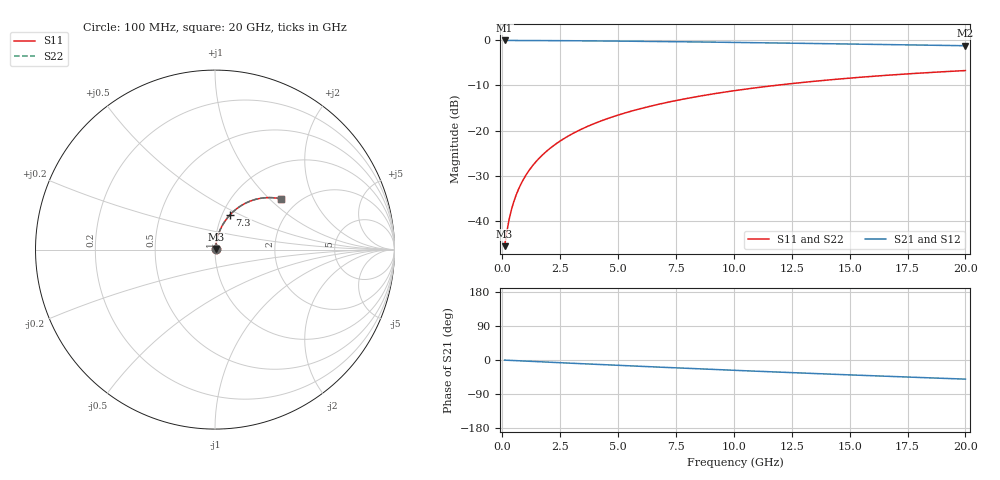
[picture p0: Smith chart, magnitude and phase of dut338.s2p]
! Touchstone file exported from HFSS 2026.1.0
!  File:  C:/ffzhzh/LocalFiles/Ansys_Project_Files/temp_train_BSMRDL_338_1783011133_51716.aedt
!  Generated:  12:53:52 AM Jul  3, 2026
!  Design:  BSMRDL
!  Project:  temp_train_BSMRDL_338_1783011133_51716
! Variables:
!  h_bsmrdl = 5.72um
!  h_ox = 20um
!  h_rdl = 5um
!  h_sub = 80um
!  h_tmrdl = 5um
!  h_tsv = 80um
!  h_via = 3um
!  l_bsmrdl = 779.7um
!  l_sub = 1179.7um
!  l_tmrdl = 200um
!  m_sub = 200um
!  pitch = 35.9um
!  r_tsv = 6um
!  s_tmrdl = 10um
!  w_bsmrdl = 11.71um
!  w_sub = 500um
!  w_tmrdl = 12um
!  x_tsv_center1 = 206um
!  x_tsv_center2 = 997.41um
!  x_tsv_center3 = 1209.41um
!  x_tsv_center4 = 2000.82um
!  x_tsv_center5 = 2212.82um
!  x_tsv_center6 = 3004.23um
# GHz S MA R 50.000000
! Terminal data exported
! Port[1] = BSM_RDL1_1_T1
! Port[2] = BSM_RDL1_1_T2
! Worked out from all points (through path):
!   200 points, 100 MHz to 20 GHz, reference 50 ohm
!   highest |S21| = -0.04 dB at 100 MHz (marker M1); lowest = -1.2 dB at 20 GHz (marker M2)
!   group delay of S21, straight-line fit = 7 ps
!   lowest |S11| = -45.6 dB at 100 MHz (marker M3), VSWR 1.01, Z = 50.4 + j0.327 ohm
!   |S11| at or under -10 dB: start of sweep to 11.76 GHz
!   |S22| runs from -45.6 to -6.7 dB; largest |S21 - S12| = 5.5e-15
!   S11 on the Smith chart (normalised r, x): 100 MHz: 1.01, +0.01; 7.3 GHz: 1.09, +0.44; 20 GHz: 1.63, +1.17
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0.1  0.005278 37.9  0.9958 -0.3  0.9958 -0.3  0.005278 37.9
! Gamma 0 0 0 0
! Port Impedance 50 0 50 0
0.2  0.007749 56.1  0.9957 -0.6  0.9957 -0.6  0.007749 56.1
0.3  0.01058 64.7  0.9956 -0.9  0.9956 -0.9  0.01058 64.7
0.4  0.01351 69.4  0.9954 -1.2  0.9954 -1.2  0.01351 69.4
0.5  0.01648 72.4  0.9953 -1.5  0.9953 -1.5  0.01648 72.4
0.6  0.01948 74.4  0.9952 -1.7  0.9952 -1.7  0.01948 74.4
0.8  0.02552 76.8  0.9949 -2.3  0.9949 -2.3  0.02552 76.8
1.1  0.03463 78.5  0.9944 -3.2  0.9944 -3.2  0.03463 78.5
1.5  0.0468 79.2  0.9936 -4.3  0.9936 -4.3  0.0468 79.2
1.8  0.05589 79.1  0.9929 -5.2  0.9929 -5.2  0.05589 79.1
2.1  0.06494 78.8  0.992 -6.0  0.992 -6.0  0.06494 78.8
2.7  0.08286 77.8  0.9901 -7.7  0.9901 -7.7  0.08286 77.8
3.5  0.1063 76.0  0.9869 -9.9  0.9869 -9.9  0.1063 76.0
4.2  0.1264 74.4  0.9837 -11.9  0.9837 -11.9  0.1264 74.4
5  0.1488 72.4  0.9797 -14.1  0.9797 -14.1  0.1488 72.4
6.8  0.1973 67.9  0.9694 -18.9  0.9694 -18.9  0.1973 67.9
7.3  0.2103 66.7  0.9663 -20.2  0.9663 -20.2  0.2103 66.7
8.6  0.243 63.5  0.9577 -23.6  0.9577 -23.6  0.243 63.5
10.1  0.2789 59.9  0.9471 -27.4  0.9471 -27.4  0.2789 59.9
13.4  0.3505 52.1  0.922 -35.5  0.922 -35.5  0.3505 52.1
16.7  0.4117 44.7  0.896 -43.2  0.896 -43.2  0.4117 44.7
20  0.4626 37.6  0.8709 -50.5  0.8709 -50.5  0.4626 37.7
